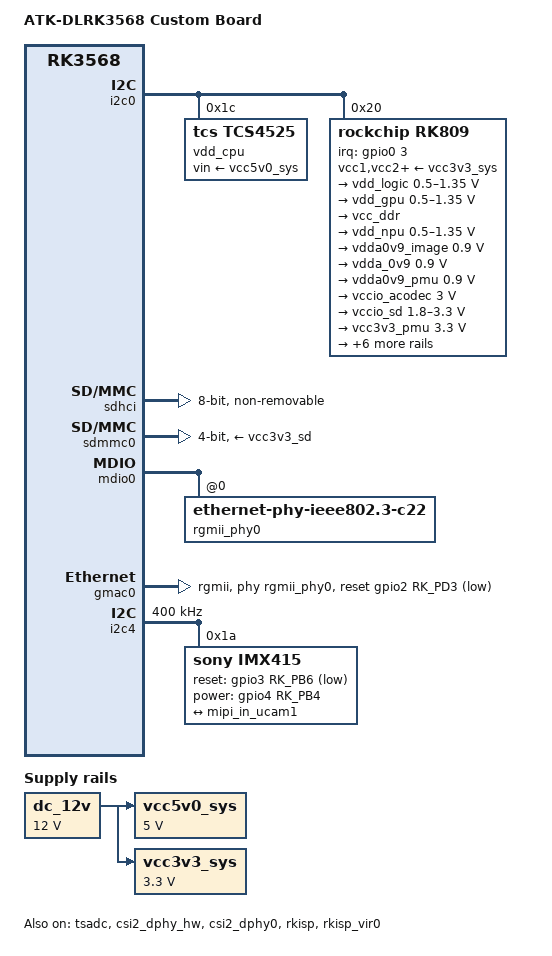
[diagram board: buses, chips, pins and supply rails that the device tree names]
// SPDX-License-Identifier: (GPL-2.0+ OR MIT)
/*
 * ATK-DLRK3568 / RK3568 自定义精简设备树
 *
 * 目标：只保留「系统正常启动 + 串口调试」，其余外设一律不使能。
 *   1. 启动链：SoC 顶层(rk3568.dtsi) + 调试/启动参数(rk3568-linux.dtsi)
 *   2. 电源   ：RK809(系统电源控制器, 提供 vdd_logic 及各路 IO 电源) + TCS4525(vdd_cpu)
 *   3. 串口   ：UART2_M0(GPIO0_D0/D1) -> ttyFIQ0, 1500000bps
 *   4. 存储   ：eMMC(sdhci) + TF 卡(sdmmc0)
 *   5. 其余   ：display/ethernet/usb/wifi-bt/camera/audio/pcie-sata/saradc... 全部不使能
 *
 * 说明：
 *   - /memory 节点由 U-Boot 运行时注入，dts 里不需要写；
 *   - bootargs 来自 rk3568-linux.dtsi（root=PARTUUID=614e0000-0000 与 parameter 文件中的
 *     uuid:rootfs=614e0000-0000 一致），U-Boot 传入的 bootargs 会覆盖它；
 *   - pmu_io_domains 的电压必须与硬件实际供电一致，否则可能损坏 SoC！见文件末尾注释。
 */

/dts-v1/;

#include <dt-bindings/gpio/gpio.h>
#include <dt-bindings/interrupt-controller/irq.h>
#include <dt-bindings/pinctrl/rockchip.h>
#include "rk3568.dtsi"
#include "rk3568-linux.dtsi"

/ {
	model = "ATK-DLRK3568 Custom Board";
	compatible = "alientek,rk3568-atk-custom", "rockchip,rk3568";

	/* 12V 适配器输入 */
	dc_12v: dc-12v {
		compatible = "regulator-fixed";
		regulator-name = "dc_12v";
		regulator-always-on;
		regulator-boot-on;
		regulator-min-microvolt = <12000000>;
		regulator-max-microvolt = <12000000>;
	};

	vcc5v0_sys: vcc5v0-sys {
		compatible = "regulator-fixed";
		regulator-name = "vcc5v0_sys";
		regulator-always-on;
		regulator-boot-on;
		regulator-min-microvolt = <5000000>;
		regulator-max-microvolt = <5000000>;
		vin-supply = <&dc_12v>;
	};

	vcc3v3_sys: vcc3v3-sys {
		compatible = "regulator-fixed";
		regulator-name = "vcc3v3_sys";
		regulator-always-on;
		regulator-boot-on;
		regulator-min-microvolt = <3300000>;
		regulator-max-microvolt = <3300000>;
		vin-supply = <&dc_12v>;
	};

	/* 如果需要固定 bootargs，可在此覆盖 rk3568-linux.dtsi 中的默认值
	chosen: chosen {
		bootargs = "earlycon=uart8250,mmio32,0xfe660000 console=ttyFIQ0 root=PARTUUID=614e0000-0000 rw rootwait";
	};
	*/
};

/*
 * 调试串口（板载 USB 转串口接在此口）: RK3568默认串口, 无需配置okay
 * rk3568.dtsi 中默认 pinctrl-0 = <&uart2m0_xfer>，无需重复配置
 * 控制台设备: /dev/ttyFIQ0 (fiq-debugger, 1500000bps)
 */
&uart2 {
	status = "disabled";
};

/*
 * I2C0 上的电源管理芯片
 *  - RK809: 系统电源控制器, 提供 vdd_logic/vdd_gpu/vdd_npu/vcc_ddr 及各路 IO 电源
 *  - TCS4525: CPU 核心电压(vdd_cpu), 用于 CPU DVFS
 * 注意: RK809 电源是板级基础电源, 不是“外设”, 必须保留;
 *       若自制板没有 TCS4525, 请删除 tcs4525 节点和下面的 &cpu0 节点。
 */
&i2c0 {
	status = "okay";

	vdd_cpu: tcs4525@1c {
		compatible = "tcs,tcs4525";
		reg = <0x1c>;
		vin-supply = <&vcc5v0_sys>;
		regulator-compatible = "fan53555-reg";
		regulator-name = "vdd_cpu";
		regulator-min-microvolt = <712500>;
		regulator-max-microvolt = <1390000>;
		regulator-init-microvolt = <900000>;
		regulator-ramp-delay = <2300>;
		fcs,suspend-voltage-selector = <1>;
		regulator-boot-on;
		regulator-always-on;
		regulator-state-mem {
			regulator-off-in-suspend;
		};
	};

	rk809: pmic@20 {
		compatible = "rockchip,rk809";
		reg = <0x20>;
		interrupt-parent = <&gpio0>;
		interrupts = <3 IRQ_TYPE_LEVEL_LOW>;

		pinctrl-names = "default", "pmic-sleep",
				"pmic-power-off", "pmic-reset";
		pinctrl-0 = <&pmic_int>;
		pinctrl-1 = <&soc_slppin_slp>, <&rk817_slppin_slp>;
		pinctrl-2 = <&soc_slppin_gpio>, <&rk817_slppin_pwrdn>;
		pinctrl-3 = <&soc_slppin_gpio>, <&rk817_slppin_rst>;

		rockchip,system-power-controller;
		wakeup-source;
		#clock-cells = <1>;
		clock-output-names = "rk808-clkout1", "rk808-clkout2";
		/* 1: rst regs (default in codes), 0: rst the pmic */
		pmic-reset-func = <0>;
		/* not save the PMIC_POWER_EN register in uboot */
		not-save-power-en = <1>;

		vcc1-supply = <&vcc3v3_sys>;
		vcc2-supply = <&vcc3v3_sys>;
		vcc3-supply = <&vcc3v3_sys>;
		vcc4-supply = <&vcc3v3_sys>;
		vcc5-supply = <&vcc3v3_sys>;
		vcc6-supply = <&vcc3v3_sys>;
		vcc7-supply = <&vcc3v3_sys>;
		vcc8-supply = <&vcc3v3_sys>;
		vcc9-supply = <&vcc3v3_sys>;

		pwrkey {
			status = "okay";
		};

		pinctrl_rk8xx: pinctrl_rk8xx {
			gpio-controller;
			#gpio-cells = <2>;

			rk817_slppin_null: rk817_slppin_null {
				pins = "gpio_slp";
				function = "pin_fun0";
			};

			rk817_slppin_slp: rk817_slppin_slp {
				pins = "gpio_slp";
				function = "pin_fun1";
			};

			rk817_slppin_pwrdn: rk817_slppin_pwrdn {
				pins = "gpio_slp";
				function = "pin_fun2";
			};

			rk817_slppin_rst: rk817_slppin_rst {
				pins = "gpio_slp";
				function = "pin_fun3";
			};
		};

		regulators {
			vdd_logic: DCDC_REG1 {
				regulator-always-on;
				regulator-boot-on;
				regulator-min-microvolt = <500000>;
				regulator-max-microvolt = <1350000>;
				regulator-init-microvolt = <900000>;
				regulator-ramp-delay = <6001>;
				regulator-initial-mode = <0x2>;
				regulator-name = "vdd_logic";
				regulator-state-mem {
					regulator-off-in-suspend;
				};
			};

			vdd_gpu: DCDC_REG2 {
				regulator-always-on;
				regulator-boot-on;
				regulator-min-microvolt = <500000>;
				regulator-max-microvolt = <1350000>;
				regulator-init-microvolt = <900000>;
				regulator-ramp-delay = <6001>;
				regulator-initial-mode = <0x2>;
				regulator-name = "vdd_gpu";
				regulator-state-mem {
					regulator-off-in-suspend;
				};
			};

			vcc_ddr: DCDC_REG3 {
				regulator-always-on;
				regulator-boot-on;
				regulator-initial-mode = <0x2>;
				regulator-name = "vcc_ddr";
				regulator-state-mem {
					regulator-on-in-suspend;
				};
			};

			vdd_npu: DCDC_REG4 {
				regulator-always-on;
				regulator-boot-on;
				regulator-min-microvolt = <500000>;
				regulator-max-microvolt = <1350000>;
				regulator-init-microvolt = <900000>;
				regulator-ramp-delay = <6001>;
				regulator-initial-mode = <0x2>;
				regulator-name = "vdd_npu";
				regulator-state-mem {
					regulator-off-in-suspend;
				};
			};

			vdda0v9_image: LDO_REG1 {
				regulator-boot-on;
				regulator-always-on;
				regulator-min-microvolt = <900000>;
				regulator-max-microvolt = <900000>;
				regulator-name = "vdda0v9_image";
				regulator-state-mem {
					regulator-off-in-suspend;
				};
			};

			vdda_0v9: LDO_REG2 {
				regulator-always-on;
				regulator-boot-on;
				regulator-min-microvolt = <900000>;
				regulator-max-microvolt = <900000>;
				regulator-name = "vdda_0v9";
				regulator-state-mem {
					regulator-off-in-suspend;
				};
			};

			vdda0v9_pmu: LDO_REG3 {
				regulator-always-on;
				regulator-boot-on;
				regulator-min-microvolt = <900000>;
				regulator-max-microvolt = <900000>;
				regulator-name = "vdda0v9_pmu";
				regulator-state-mem {
					regulator-on-in-suspend;
					regulator-suspend-microvolt = <900000>;
				};
			};

			vccio_acodec: LDO_REG4 {
				regulator-always-on;
				regulator-boot-on;
				regulator-min-microvolt = <3000000>;
				regulator-max-microvolt = <3000000>;
				regulator-name = "vccio_acodec";
				regulator-state-mem {
					regulator-off-in-suspend;
				};
			};

			vccio_sd: LDO_REG5 {
				regulator-always-on;
				regulator-boot-on;
				regulator-min-microvolt = <1800000>;
				regulator-max-microvolt = <3300000>;
				regulator-name = "vccio_sd";
				regulator-state-mem {
					regulator-off-in-suspend;
				};
			};

			vcc3v3_pmu: LDO_REG6 {
				regulator-always-on;
				regulator-boot-on;
				regulator-min-microvolt = <3300000>;
				regulator-max-microvolt = <3300000>;
				regulator-name = "vcc3v3_pmu";
				regulator-state-mem {
					regulator-on-in-suspend;
					regulator-suspend-microvolt = <3300000>;
				};
			};

			vcca_1v8: LDO_REG7 {
				regulator-always-on;
				regulator-boot-on;
				regulator-min-microvolt = <1800000>;
				regulator-max-microvolt = <1800000>;
				regulator-name = "vcca_1v8";
				regulator-state-mem {
					regulator-off-in-suspend;
				};
			};

			vcca1v8_pmu: LDO_REG8 {
				regulator-always-on;
				regulator-boot-on;
				regulator-min-microvolt = <1800000>;
				regulator-max-microvolt = <1800000>;
				regulator-name = "vcca1v8_pmu";
				regulator-state-mem {
					regulator-on-in-suspend;
					regulator-suspend-microvolt = <1800000>;
				};
			};

			vcca1v8_image: LDO_REG9 {
				regulator-always-on;
				regulator-boot-on;
				regulator-min-microvolt = <1800000>;
				regulator-max-microvolt = <1800000>;
				regulator-name = "vcca1v8_image";
				regulator-state-mem {
					regulator-off-in-suspend;
				};
			};

			vcc_1v8: DCDC_REG5 {
				regulator-always-on;
				regulator-boot-on;
				regulator-min-microvolt = <1800000>;
				regulator-max-microvolt = <1800000>;
				regulator-name = "vcc_1v8";
				regulator-state-mem {
					regulator-off-in-suspend;
				};
			};

			vcc_3v3: SWITCH_REG1 {
				regulator-always-on;
				regulator-boot-on;
				regulator-name = "vcc_3v3";
				regulator-state-mem {
					regulator-off-in-suspend;
				};
			};

			vcc3v3_sd: SWITCH_REG2 {
				regulator-always-on;
				regulator-boot-on;
				regulator-name = "vcc3v3_sd";
				regulator-state-mem {
					regulator-off-in-suspend;
				};
			};
		};
	};
};

/* CPU 核心电压由 TCS4525 提供，用于 CPU DVFS；无此器件请整段删除 */
&cpu0 {
	cpu-supply = <&vdd_cpu>;
};

/* eMMC：系统（rootfs）启动盘，引脚为 eMMC 专用引脚，无需 pinctrl */
&sdhci {
	bus-width = <8>;
	no-sdio;
	no-sd;
	non-removable;
	max-frequency = <200000000>;
	full-pwr-cycle-in-suspend;
	status = "okay";
};

/* TF 卡（sdmmc0） */
&sdmmc0 {
	max-frequency = <150000000>;
	no-sdio;
	no-mmc;
	bus-width = <4>;
	cap-mmc-highspeed;
	cap-sd-highspeed;
	disable-wp;
	sd-uhs-sdr104;
	vmmc-supply = <&vcc3v3_sd>;
	vqmmc-supply = <&vccio_sd>;
	pinctrl-names = "default";
	pinctrl-0 = <&sdmmc0_bus4 &sdmmc0_clk &sdmmc0_cmd &sdmmc0_det>;
	status = "okay";
};

/* 仅使能 SoC 内部温度传感器，供 thermal 使用（非外设） */
&tsadc {
	status = "okay";
};

/*
 * IO 电压域配置（驱动: drivers/soc/rockchip/io-domain.c）
 * 必须与硬件实际连接的电源一致，否则会配置错误甚至损坏 SoC。
 * 下面取值与 rk3568-atk-evb1-ddr4-v10.dtsi + rk3568-evb.dtsi 叠加后的最终结果一致：
 *   vccio4 / vccio6 = 1.8V(vcc_1v8)，其余如上。
 * VCCIO2 由 FLASH_VOL_SEL/GPIO0_A7 硬件选择，无需软件配置。
 */
&pmu_io_domains {
	status = "okay";
	pmuio2-supply = <&vcc3v3_pmu>;
	vccio1-supply = <&vccio_acodec>;
	vccio3-supply = <&vccio_sd>;
	vccio4-supply = <&vcc_1v8>;
	vccio5-supply = <&vcc_3v3>;
	vccio6-supply = <&vcc_1v8>;
	vccio7-supply = <&vcc_3v3>;
};

/* 板级 pinctrl：PMIC 中断脚 / 休眠控制脚 */
&pinctrl {
	pmic {
		pmic_int: pmic-int {
			rockchip,pins = <0 RK_PA3 RK_FUNC_GPIO &pcfg_pull_up>;
		};

		soc_slppin_gpio: soc-slppin-gpio {
			rockchip,pins = <0 RK_PA2 RK_FUNC_GPIO &pcfg_output_low>;
		};

		soc_slppin_slp: soc-slppin-slp {
			rockchip,pins = <0 RK_PA2 1 &pcfg_pull_none>;
		};

		soc_slppin_rst: soc-slppin-rst {
			rockchip,pins = <0 RK_PA2 2 &pcfg_pull_none>;
		};
	};
};

/*
GMAC: 时钟 125MHz, 双边沿采样, 4bit并行传输. Tx[0]-TX[3], Rx[0]-Rx[3]

GMAC控制 <-> GMAC DMA <-> Tx/Rx
*/
&mdio0 {
	rgmii_phy0: phy@0 {
		compatible = "ethernet-phy-ieee802.3-c22";
		//reg = <0x0>;
	};
};

&gmac0 {
	phy-mode = "rgmii";
	clock_in_out = "output";

	/* 接入的是YT8531C的复位引脚 */
	snps,reset-gpio = <&gpio2 RK_PD3 GPIO_ACTIVE_LOW>;
	snps,reset-active-low;
	/* Reset time is 20ms, 100ms for rtl8211f */
	snps,reset-delays-us = <0 20000 100000>;

	assigned-clocks = <&cru SCLK_GMAC0_RX_TX>, <&cru SCLK_GMAC0>;
	assigned-clock-parents = <&cru SCLK_GMAC0_RGMII_SPEED>, <&cru CLK_MAC0_2TOP>;
	assigned-clock-rates = <0>, <125000000>;

	pinctrl-names = "default";
	pinctrl-0 = <&gmac0_miim
		     &gmac0_tx_bus2
		     &gmac0_rx_bus2
		     &gmac0_rgmii_clk
		     &gmac0_rgmii_bus>;
	
	tx_delay = <0x24>;
	rx_delay = <0x33>;

	phy-handle = <&rgmii_phy0>;
	status = "okay";
};

/*
视频子系统
	IMX415, I2C
	MIPI D-PHY
	MIPI CSI-2
	VICAP
	ISP
	RGA

SoC
	1. D-PHY
		// D-PHY 硬件IP
		csi2_dphy_hw: csi2-dphy-hw@fe870000 {
		
		}

		// PHY0, PHY1, PHY2, 3个逻辑通道. 使用的硬件都是csi2_dphy_hw
		csi2_dphy0: csi2-dphy0 {
			rockchip,hw = <&csi2_dphy_hw>;
		};

		csi2_dphy1: csi2-dphy1 {
			rockchip,hw = <&csi2_dphy_hw>;
		};

		csi2_dphy2: csi2-dphy2 {
			rockchip,hw = <&csi2_dphy_hw>;
		};

	2. MIPI CSI
		// MIPI CSI Host
		mipi_csi2_hw: mipi-csi2-hw@fdfb0000{
		
		}
		mipi_csi2: mipi-csi2 {
			rockchip,hw = <&mipi_csi2_hw>;
		};
	
	3. VICAP
		// 
		rkcif: rkcif@fdfe0000 {

		}

		rkcif_mmu: iommu@fdfe0800 {
		
		}

	4. ISP
		rkisp: rkisp@fdff0000 {

		}

		rkisp_mmu: iommu@fdff1a00 {
		
		}

		rkisp_vir0: rkisp-vir0 {
			rockchip,hw = <&rkisp>;
		}

		rkisp_vir1: rkisp-vir1 {
			rockchip,hw = <&rkisp>;
		}

通道
	1. Sensor -> MIPI D-PHY -> ISP
	2. Sensor -> MIPI D-PHY 

情况1:
	Sensor -> MIPI D-PHY -> MIPI CSI-2 -> VICAP -> Memory

D-PHY三种工作模式: 3种逻辑通道
	csi2_dphy0, 全速模式: 4个lane
	csi2_dphy1, 拆分模式: lane0和lane1
	csi2_dphy2, 拆分模式: lane2和lane3
*/
// ================================== Sensor =====================================
&i2c4 {
	status = "okay";
	clock-frequency = <400000>;

	// 手册显示, 其地址有: 0x34/0x36/0x3A/0x3C 写地址
	// SLAMODE0/SLAMODE1引脚决定
	imx415: imx415@1a {
		status = "okay";
		compatible = "sony,imx415";
		/*地址*/
		reg = <0x1a>;
		/*电源, 复位*/
		power-domains = <&power RK3568_PD_VI>;
		reset-gpios = <&gpio3 RK_PB6 GPIO_ACTIVE_LOW>;
		power-gpios = <&gpio4 RK_PB4 GPIO_ACTIVE_HIGH>;
		/*时钟*/
		clocks = <&cru CLK_CIF_OUT>;
		clock-names = "xvclk";
		/*输入, 输出*/
		pinctrl-names = "rockchip,camera_default";
		pinctrl-0 = <&cif_clk>;

		rockchip,camera-module-index = <0>;
		rockchip,camera-module-facing = "back";
		rockchip,camera-module-name = "CMK-OT1522-FG3";
		rockchip,camera-module-lens-name = "CS-P1150-IRC-8M-FAU";
		port {
			imx415_out: endpoint {
				remote-endpoint = <&mipi_in_ucam1>;
				data-lanes = <1 2 3 4>;
			};
		};
	};
};

// ================================== MIPI D-PHY =====================================
&csi2_dphy_hw {
	status = "okay";
};


&csi2_dphy0 {
	status = "okay";

	ports {
		#address-cells = <1>;
		#size-cells = <0>;
		/* 表示输入端口 */
		port@0 {
			reg = <0>;
			#address-cells = <1>;
			#size-cells = <0>;

			/* 物理MIPI D-PHY只能接收一路MIPI信号 */
			mipi_in_ucam1: endpoint@2 {
				reg = <2>;
				remote-endpoint = <&imx415_out>;
				data-lanes = <1 2 3 4>;
			};
		};
		port@1 {
			reg = <1>;
			#address-cells = <1>;
			#size-cells = <0>;

			csidphy_out: endpoint@0 {
				reg = <0>;
				remote-endpoint = <&isp0_in>;
			};
		};
	};
};

// ================================== MIPI CSI 2 =====================================



// ================================== MIPI ISP =====================================
&rkisp {
	status = "okay";
};

&rkisp_mmu {
	status = "okay";
};

&rkisp_vir0 {
	status = "okay";

	port {
		#address-cells = <1>;
		#size-cells = <0>;

		isp0_in: endpoint@0 {
			reg = <0>;
			remote-endpoint = <&csidphy_out>;
		};
	};
};
